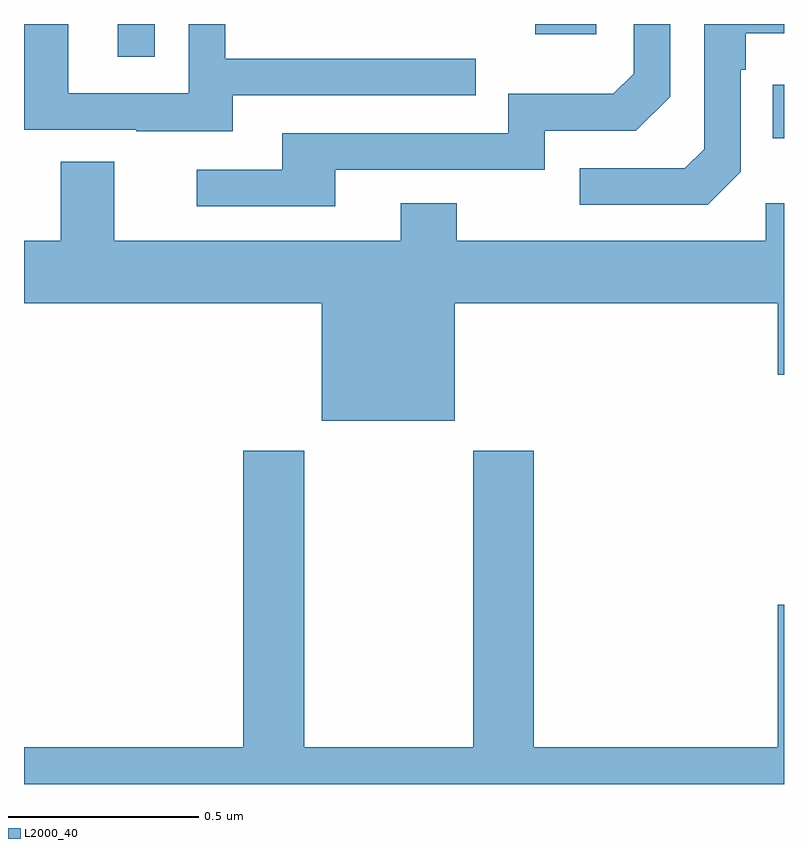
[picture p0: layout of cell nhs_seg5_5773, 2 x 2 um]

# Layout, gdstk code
import gdstk
lib = gdstk.Library(unit=1e-6, precision=1e-09)
def R(c, l, rs):  # rectangles x0, y0, x1, y1
    for r in rs: c.add(gdstk.rectangle(r[:2], r[2:], *l))
def P(c, l, *ps):  # polygons
    for p in ps: c.add(gdstk.Polygon(p, *l))
L2000_40 = (2000, 40)

nhs_seg5_5773 = lib.new_cell('nhs_seg5_5773')
R(nhs_seg5_5773, L2000_40, [(188.971,886.499,189,886.639), (187.247,886.713,187.344,886.799), (188.345,886.772,188.506,886.799)])
P(nhs_seg5_5773, L2000_40, [(187.819,886.416),(188.37,886.416),(188.37,886.518),(188.61,886.518),(188.7,886.608),(188.7,886.799),(188.604,886.799),(188.604,886.668),(188.551,886.615),(188.274,886.615),(188.274,886.512),(187.679,886.512),(187.679,886.416),(187.455,886.416),(187.455,886.32),(187.819,886.32)],
  [(188.886,886.41),(188.886,886.679),(188.899,886.679),(188.899,886.775),(189,886.775),(189,886.799),(188.79,886.799),(188.79,886.47),(188.739,886.419),(188.463,886.419),(188.463,886.323),(188.799,886.323)],
  [(187.549,886.611),(188.189,886.611),(188.189,886.707),(187.53,886.707),(187.53,886.799),(187.434,886.799),(187.434,886.617),(187.116,886.617),(187.116,886.799),(187,886.799),(187,886.521),(187.295,886.521),(187.295,886.517),(187.549,886.517)],
  [(188.134,886.064),(188.984,886.064),(188.984,885.876),(189,885.876),(189,886.327),(188.952,886.327),(188.952,886.228),(188.139,886.228),(188.139,886.327),(187.991,886.327),(187.991,886.228),(187.237,886.228),(187.237,886.436),(187.097,886.436),(187.097,886.228),(187,886.228),(187,886.064),(187.784,886.064),(187.784,885.755),(188.134,885.755)],
  [(189,885.271),(188.984,885.271),(188.984,884.896),(188.342,884.896),(188.342,885.676),(188.182,885.676),(188.182,884.896),(187.737,884.896),(187.737,885.676),(187.577,885.676),(187.577,884.896),(187,884.896),(187,884.799),(189,884.799)])

lib.write_gds('nhs_seg5_5773.gds')
